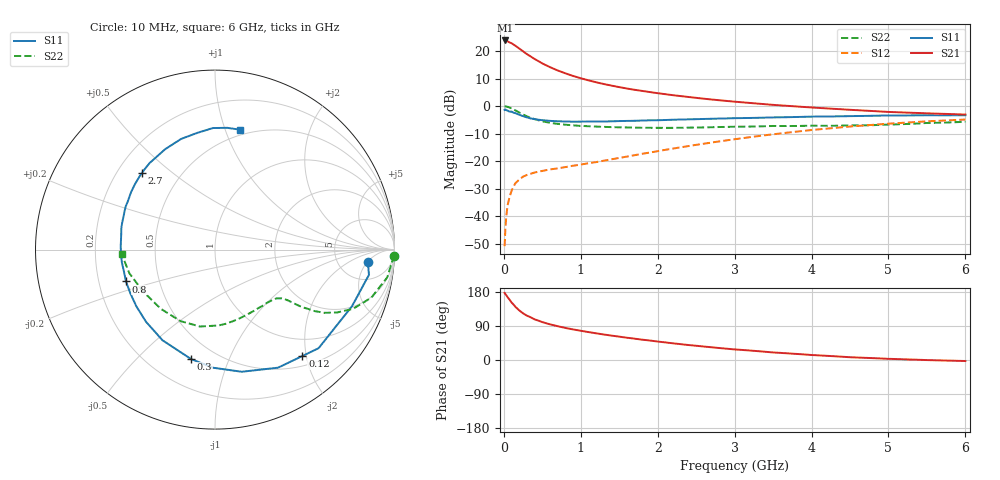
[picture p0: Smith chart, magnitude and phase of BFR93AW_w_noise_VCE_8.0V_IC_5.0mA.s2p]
! (c) 2017  Infineon Technologies AG, Munich
! Infineon Technologies  Discrete & RF Semiconductors
! BFR93AW
! VCE =  8.0 V,  IC =  5.0 mA
! Common Emitter S-Parameters:  Jan 2017
# GHz  S  MA  R  50
!  f  S11  S21  S12  S22
! GHz  MAG  ANG  MAG  ANG  MAG  ANG  MAG  ANG
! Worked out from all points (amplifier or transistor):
!   77 points, 10 MHz to 6 GHz, reference 50 ohm
!   highest |S21| = 23.8 dB at 20 MHz (marker M1)
!   |S21| within 3 dB of that: start of sweep to 203.9 MHz
!   unconditionally stable (mu >= 1): 1.077 GHz to 2.157 GHz
!   at 130 MHz: K = 0.19, MSG = 25.6 dB, |S12| = -29.0 dB
!   at 2.2 GHz: K = 0.99, MSG = 9.7 dB, |S12| = -15.4 dB
!   at 6 GHz: K = 0.88, MSG = 0.9 dB, |S12| = -4.9 dB
!   lowest NFmin = 1.18 dB at 450 MHz
!   S11 on the Smith chart (normalised r, x): 10 MHz: 10, -5; 120 MHz: 0.67, -1.93; 300 MHz: 0.37, -0.74; 800 MHz: 0.32, -0.16; 2.7 GHz: 0.30, +0.39; 6 GHz: 0.45, +1.12
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0.01  0.8542 -4.6  15.26 177.0  0.0029 85.0  0.9988 -1.9
0.02  0.8693 -9.3  15.46 174.1  0.006 92.5  0.9894 -3.8
0.05  0.8258 -22.5  14.89 165.4  0.0161 77.6  0.9718 -9.2
0.08  0.7952 -35.0  14.14 157.5  0.0238 70.9  0.9335 -13.8
0.1  0.7968 -43.6  13.8 151.9  0.029 68.4  0.9116 -17.1
0.12  0.7671 -50.6  13.18 147.6  0.0333 64.9  0.8806 -19.4
0.15  0.7458 -61.9  12.42 140.4  0.04 61.0  0.837 -23.2
0.2  0.6966 -77.7  11.05 130.9  0.0467 55.4  0.766 -27.2
0.25  0.658 -91.1  9.835 123.1  0.0527 51.2  0.7047 -30.0
0.3  0.624 -102.4  8.749 117.0  0.0566 48.0  0.652 -31.7
0.4  0.5836 -120.1  7.129 107.2  0.0626 45.2  0.5787 -33.5
0.5  0.5563 -133.7  5.935 100.0  0.067 44.8  0.5299 -34.3
0.6  0.5402 -144.3  5.081 94.1  0.0713 45.4  0.4983 -34.8
0.8  0.5267 -160.3  3.925 84.6  0.0786 48.6  0.4599 -36.2
1.1  0.524 -177.1  2.93 73.7  0.0924 53.8  0.4317 -39.8
1.5  0.5355 167.0  2.206 61.6  0.1151 59.8  0.4124 -47.1
2.1  0.5599 148.5  1.643 46.4  0.1614 64.6  0.4034 -62.0
2.7  0.5893 133.9  1.318 33.6  0.2187 64.4  0.4141 -79.0
3.1  0.6066 124.9  1.171 26.5  0.2622 62.2  0.4239 -90.1
4.1  0.6463 105.4  0.926 12.1  0.3796 52.7  0.4403 -119.1
5.1  0.6775 89.7  0.775 2.5  0.4897 39.8  0.4668 -152.6
6  0.6824 78.4  0.703 -2.7  0.5711 27.6  0.52 -177.1
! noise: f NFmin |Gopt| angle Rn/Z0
0.45  1.18  0.25  77  0.14
0.9  1.5  0.29  137  0.15
1.9  2.75  0.49  -153  0.19
2.4  3.37  0.57  -135  0.38
